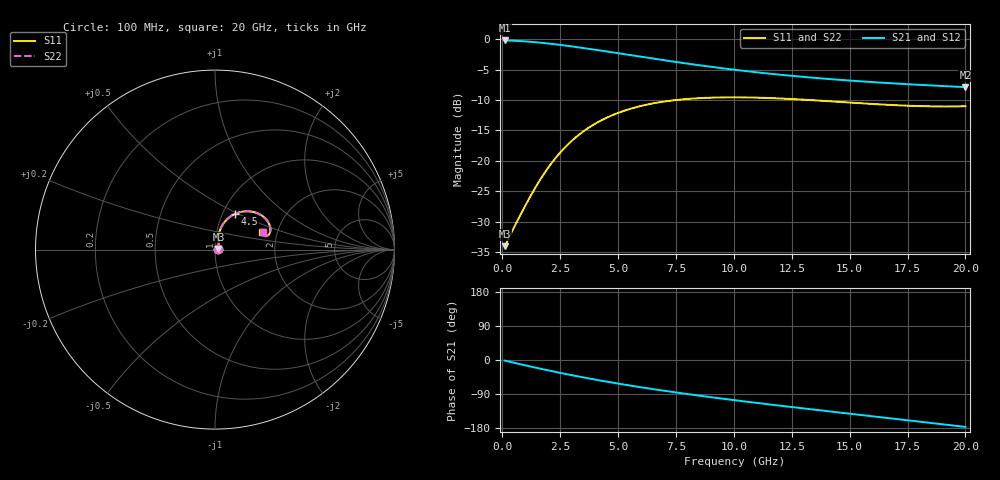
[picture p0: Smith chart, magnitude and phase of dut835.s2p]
! Touchstone file exported from HFSS 2024.1.0
!  File:  C:/UserFiles/LocalFiles/RDL_TSV_Batchsim/temp_RDL_TSV_835_1779918902.aedt
!  Generated:  06:10:20 AM May 28, 2026
!  Design:  RDL_TSV
!  Project:  temp_RDL_TSV_835_1779918902
!  Setup:  Setup1
!  Solution:  Sweep
! Variables:
!  dtsv = 7.1um
!  hbump = 3um
!  htsv = 69.52um
!  ldown = 265.15um
!  lrdl = 429.91um
!  p = 40
!  p1 = 44.15um
!  rhole = 10um
!  subl = 2515.09um
!  t = 450um
!  tdown = 2.68um
!  trdl = 3.17um
!  viad = 10um
!  wdown = 10.85um
!  wrdl = 21.78um
!  xbump = 18um
# GHz S MA R 50.000000
! Terminal data exported
! Port[1] = TM1_1_T1
! Port[2] = TM1_4_T1
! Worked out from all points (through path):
!   200 points, 100 MHz to 20 GHz, reference 50 ohm
!   highest |S21| = -0.17 dB at 100 MHz (marker M1); lowest = -7.9 dB at 20 GHz (marker M2)
!   group delay of S21, straight-line fit = 23.2 ps
!   lowest |S11| = -34.1 dB at 100 MHz (marker M3), VSWR 1.04, Z = 52 + j0.44 ohm
!   |S11| at or under -10 dB: start of sweep to 7.47 GHz; 13.35 GHz to end of sweep
!   |S22| runs from -34.1 to -9.5 dB; largest |S21 - S12| = 8.5e-15
!   S11 on the Smith chart (normalised r, x): 100 MHz: 1.04, +0.01; 4.5 GHz: 1.14, +0.48; 20 GHz: 1.67, +0.35
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0.1  0.01982 12.3  0.9804 -1.5  0.9804 -1.5  0.01982 12.3
! Gamma 0 0 0 0
! Port Impedance 50 0 50 0
0.5  0.02818 43.0  0.9748 -7.3  0.9748 -7.3  0.02818 43.0
0.9  0.03955 59.5  0.9657 -12.9  0.9657 -12.9  0.03955 59.5
1.4  0.05894 70.9  0.9497 -19.7  0.9497 -19.7  0.05894 70.9
1.9  0.08346 75.3  0.9294 -26.4  0.9294 -26.4  0.08346 75.3
2.3  0.1055 75.7  0.911 -31.5  0.911 -31.5  0.1055 75.7
2.7  0.1286 74.4  0.8913 -36.4  0.8913 -36.4  0.1286 74.4
3.1  0.1519 72.1  0.8707 -41.3  0.8707 -41.3  0.1519 72.1
3.5  0.1747 69.3  0.8496 -45.9  0.8496 -45.9  0.1747 69.3
4  0.2016 65.2  0.8229 -51.6  0.8229 -51.6  0.2017 65.3
4.5  0.2262 61.0  0.7963 -57.0  0.7963 -57.0  0.2263 61.1
5.6  0.2707 52.0  0.7394 -68.2  0.7394 -68.2  0.2708 52.0
6.8  0.3039 43.1  0.6823 -79.5  0.6823 -79.5  0.304 43.1
7.6  0.3182 37.8  0.6479 -86.5  0.6479 -86.5  0.3184 37.9
8.4  0.3273 33.2  0.6166 -93.2  0.6166 -93.2  0.3276 33.2
10.1  0.3335 25.2  0.5603 -106.6  0.5603 -106.6  0.3339 25.2
11.7  0.3282 19.8  0.5186 -118.4  0.5186 -118.4  0.3285 19.8
13.4  0.3158 16.2  0.4839 -130.5  0.4839 -130.5  0.3163 16.2
15  0.302 14.7  0.4583 -141.7  0.4583 -141.7  0.3025 14.7
16.7  0.2889 15.1  0.4366 -153.5  0.4366 -153.5  0.2894 15.1
18.4  0.2813 17.2  0.4188 -165.3  0.4188 -165.3  0.2817 17.1
20  0.2816 20.0  0.4045 -176.5  0.4045 -176.5  0.282 19.9
